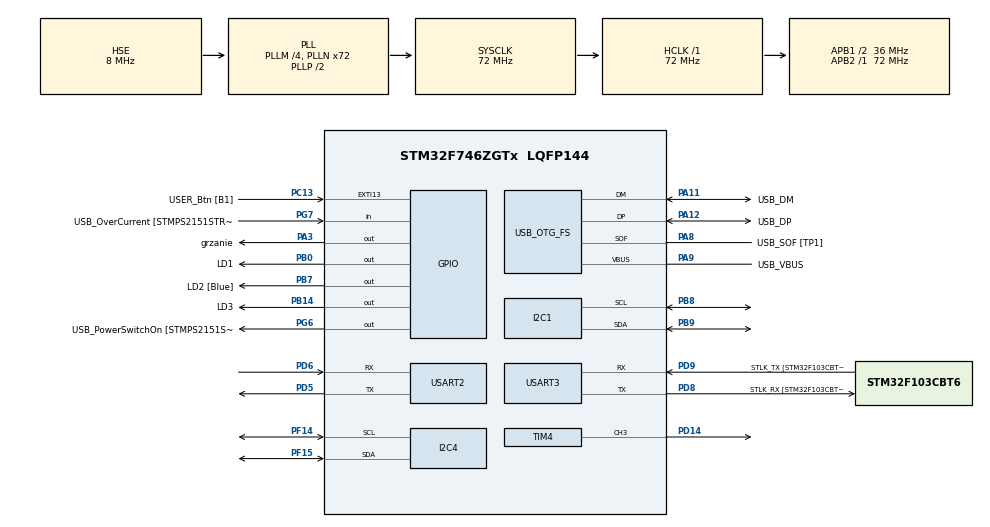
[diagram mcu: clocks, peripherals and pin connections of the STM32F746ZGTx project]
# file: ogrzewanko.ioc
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I2C1.Timing=0x00808CD2
I2C4.Timing=0x00808CD2
Mcu.Family=STM32F7
Mcu.Name=STM32F746ZGTx
Mcu.Package=LQFP144
NVIC.PriorityGroup=NVIC_PRIORITYGROUP_4
PA1.GPIO_Label=RMII_REF_CLK [LAN8742A-CZ-TR_REFCLK0]
PA1.Signal=ETH_REF_CLK
PA10.GPIO_Label=USB_ID
PA10.Signal=USB_OTG_FS_ID
PA11.GPIO_Label=USB_DM
PA11.Mode=Device_Only
PA11.Signal=USB_OTG_FS_DM
PA12.GPIO_Label=USB_DP
PA12.Mode=Device_Only
PA12.Signal=USB_OTG_FS_DP
PA13.GPIO_Label=TMS
PA13.Mode=Serial_Wire
PA13.Signal=SYS_JTMS-SWDIO
PA14.GPIO_Label=TCK
PA14.Mode=Serial_Wire
PA14.Signal=SYS_JTCK-SWCLK
PA2.GPIO_Label=RMII_MDIO [LAN8742A-CZ-TR_MDIO]
PA2.Signal=ETH_MDIO
PA3.GPIO_Label=grzanie
PA3.Signal=GPIO_Output
PA7.GPIO_Label=RMII_CRS_DV [LAN8742A-CZ-TR_CRS_DV]
PA7.Signal=ETH_CRS_DV
PA8.GPIO_Label=USB_SOF [TP1]
PA8.Mode=Activate_SOF_FS
PA8.Signal=USB_OTG_FS_SOF
PA9.GPIO_Label=USB_VBUS
PA9.Mode=Activate_VBUS
PA9.Signal=USB_OTG_FS_VBUS
PB0.GPIO_Label=LD1
PB0.Signal=GPIO_Output
PB13.GPIO_Label=RMII_TXD1 [LAN8742A-CZ-TR_TXD1]
PB13.Signal=ETH_TXD1
PB14.GPIO_Label=LD3
PB14.Signal=GPIO_Output
PB3.GPIO_Label=SW0
PB3.Signal=SYS_JTDO-SWO
PB7.GPIO_Label=LD2 [Blue]
PB7.Signal=GPIO_Output
PB8.Mode=I2C
PB8.Signal=I2C1_SCL
PB9.Mode=I2C
PB9.Signal=I2C1_SDA
PC1.GPIO_Label=RMII_MDC [LAN8742A-CZ-TR_MDC]
PC1.Signal=ETH_MDC
PC13.GPIO_Label=USER_Btn [B1]
PC13.Signal=GPXTI13
PC14/OSC32_IN.Mode=LSE-External-Oscillator
PC14/OSC32_IN.Signal=RCC_OSC32_IN
PC15/OSC32_OUT.Mode=LSE-External-Oscillator
PC15/OSC32_OUT.Signal=RCC_OSC32_OUT
PC4.GPIO_Label=RMII_RXD0 [LAN8742A-CZ-TR_RXD0]
PC4.Signal=ETH_RXD0
PC5.GPIO_Label=RMII_RXD1 [LAN8742A-CZ-TR_RXD1]
PC5.Signal=ETH_RXD1
PD14.Signal=S_TIM4_CH3
PD5.Mode=Asynchronous
PD5.Signal=USART2_TX
PD6.Mode=Asynchronous
PD6.Signal=USART2_RX
PD8.GPIO_Label=STLK_RX [STM32F103CBT6_PA3]
PD8.Mode=Asynchronous
PD8.Signal=USART3_TX
PD9.GPIO_Label=STLK_TX [STM32F103CBT6_PA2]
PD9.Mode=Asynchronous
PD9.Signal=USART3_RX
PF14.Mode=I2C
PF14.Signal=I2C4_SCL
PF15.Mode=I2C
PF15.Signal=I2C4_SDA
PG11.GPIO_Label=RMII_TX_EN [LAN8742A-CZ-TR_TXEN]
PG11.Signal=ETH_TX_EN
PG13.GPIO_Label=RMII_TXD0 [LAN8742A-CZ-TR_TXD0]
PG13.Signal=ETH_TXD0
PG6.GPIO_Label=USB_PowerSwitchOn [STMPS2151STR_EN]
PG6.Signal=GPIO_Output
PG7.GPIO_Label=USB_OverCurrent [STMPS2151STR_FAULT]
PG7.Signal=GPIO_Input
PH0/OSC_IN.GPIO_Label=MCO [STM32F103CBT6_PA8]
PH0/OSC_IN.Mode=HSE-External-Clock-Source
PH0/OSC_IN.Signal=RCC_OSC_IN
PH1/OSC_OUT.Mode=HSE-External-Clock-Source
PH1/OSC_OUT.Signal=RCC_OSC_OUT
ProjectManager.HeapSize=0x200
ProjectManager.StackSize=0x400
ProjectManager.TargetToolchain=STM32CubeIDE
RCC.48MHZClocksFreq_Value=24000000
RCC.AHBFreq_Value=72000000
RCC.APB1CLKDivider=RCC_HCLK_DIV2
RCC.APB1Freq_Value=36000000
RCC.APB1TimFreq_Value=72000000
RCC.APB2Freq_Value=72000000
RCC.APB2TimFreq_Value=72000000
RCC.CortexFreq_Value=72000000
RCC.HCLKFreq_Value=72000000
RCC.HSE_VALUE=8000000
RCC.HSI_VALUE=16000000
RCC.PLLM=4
RCC.PLLMUL=RCC_PLL_MUL9
RCC.PLLN=72
RCC.PLLQ=3
RCC.PRESCALERUSB=RCC_USBCLKSOURCE_PLL_DIV1_5
RCC.SYSCLKFreq_VALUE=72000000
RCC.SYSCLKSource=RCC_SYSCLKSOURCE_PLLCLK
RCC.SYSCLKSourceVirtual=RCC_SYSCLKSOURCE_PLLCLK
RCC.USBFreq_Value=48000000
RCC.VCOOutputFreq_Value=144000000
SH.S_TIM4_CH3.0=TIM4_CH3,PWM Generation3 CH3
TIM4.AutoReloadPreload=TIM_AUTORELOAD_PRELOAD_ENABLE
TIM4.Channel-PWM\ Generation3\ CH3=TIM_CHANNEL_3
TIM4.Period=999
TIM4.Prescaler=71
USART2.VirtualMode-Asynchronous=VM_ASYNC
USART3.VirtualMode-Asynchronous=VM_ASYNC
USB_OTG_FS.VirtualMode=Device_Only
VP_TIM4_VS_ClockSourceINT.Mode=Internal
board=NUCLEO-F746ZG

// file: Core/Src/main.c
/* USER CODE BEGIN Header */
/**
  ******************************************************************************
  * @file           : main.c
  * @brief          : Main program body
  ******************************************************************************
  * @attention
  *
  * <h2><center>&copy; Copyright (c) 2022 STMicroelectronics.
  * All rights reserved.</center></h2>
  *
  * This software component is licensed by ST under BSD 3-Clause license,
  * the "License"; You may not use this file except in compliance with the
  * License. You may obtain a copy of the License at:
  *                        opensource.org/licenses/BSD-3-Clause
  *
  ******************************************************************************
  */
/* USER CODE END Header */
#include "main.h"

/* USER CODE BEGIN Includes */
#include "BMPXX80.h"
#include "stm32f7xx_hal.h"
#include "u8g_arm.h"
/* USER CODE END Includes */

/* USER CODE BEGIN PTD */
#define MAX_LENGTH 30
 char text[MAX_LENGTH];

typedef float float32_t;

typedef struct{
	float32_t Kp;
	float32_t Ki;
	float32_t Kd;
	float32_t dt;
}pid_parameters_t;

typedef struct{
	pid_parameters_t p;
	float32_t previous_error, previous_integral;
}pid_t;

/* USER CODE END PTD */

I2C_HandleTypeDef hi2c1;
I2C_HandleTypeDef hi2c4;

TIM_HandleTypeDef htim4;

UART_HandleTypeDef huart2;
UART_HandleTypeDef huart3;

PCD_HandleTypeDef hpcd_USB_OTG_FS;

/* USER CODE BEGIN PV */
float temperature; float temp_zadana =27;
int32_t pressure;
static u8g_t u8g;
char tekst_wysw[50];
char tekst_wysw2[50];
char temp[10];
uint8_t key[1];

//parametry pwm
uint16_t pwm_duty=0;
float32_t counter_period = 999;
float32_t pid_output = 0;
/* USER CODE END PV */

void SystemClock_Config(void);
static void MX_GPIO_Init(void);
static void MX_USART3_UART_Init(void);
static void MX_USB_OTG_FS_PCD_Init(void);
static void MX_I2C1_Init(void);
static void MX_I2C4_Init(void);
static void MX_TIM4_Init(void);
static void MX_USART2_UART_Init(void);

/* USER CODE BEGIN 0 */
void draw(void)
{
	u8g_SetFont(&u8g,u8g_font_profont10);//set current font
	u8g_DrawStr(&u8g, 2, 12, tekst_wysw);
	u8g_DrawStr(&u8g, 2, 32, tekst_wysw2);//write string - you set coordinates and string
	//u8g_DrawBox(&u8g, 30, 30, 35, 35);//draw some box
}
/**
* Calculation of discrete PID
* @param[in,out] s A pointer to PID parameters and history
* @param[in] setpoint Input setpoint value
* @param[in] measured Input measured value
* @return PID output value
*/
float32_t calculate_discrete_pid(pid_t* pid, float32_t setpoint, float32_t measured){
	float32_t u=0, P, I, D, error, integral, derivative;

	error = setpoint-measured;

	//proportional part
	P = pid->p.Kp * error;

	//integral part
	integral = pid->previous_integral + (error+pid->previous_error) ; //numerical integrator without anti-windup
	pid->previous_integral = integral;
	I = pid->p.Ki*integral*(pid->p.dt/2.0);

	//derivative part
	derivative = (error - pid->previous_error)/pid->p.dt; //numerical derivative without filter
	pid->previous_error = error;
	D = pid->p.Kd*derivative;

	//sum of all parts
	u = P  + I + D; //without saturation

	return u;
}

/* USER CODE END 0 */

int main(void)
{

  /* MCU Configuration--------------------------------------------------------*/

  /* Reset of all peripherals, Initializes the Flash interface and the Systick. */
  HAL_Init();

  /* Configure the system clock */
  SystemClock_Config();

  /* Initialize all configured peripherals */
  MX_GPIO_Init();
  MX_USART3_UART_Init();
  MX_USB_OTG_FS_PCD_Init();
  MX_I2C1_Init();
  MX_I2C4_Init();
  MX_TIM4_Init();
  MX_USART2_UART_Init();
  /* USER CODE BEGIN 2 */
  HAL_TIM_PWM_Start(&htim4, TIM_CHANNEL_3);
  u8g_InitComFn(&u8g, &u8g_dev_ssd1306_128x64_i2c, u8g_com_hw_i2c_fn); //here we init our u8glib driver
  BMP280_Init(&hi2c1, BMP280_TEMPERATURE_16BIT, BMP280_STANDARD, BMP280_FORCEDMODE);

  pid_t pid1 = { .p.Kp=5.0, .p.Ki=0.005, .p.Kd=0.05, .p.dt=1, .previous_error=0, .previous_integral=0}; //tworzymy pid

  /* USER CODE END 2 */

  /* Infinite loop */
  while (1)
  {

    /* USER CODE BEGIN 3 */

	  // wpisanie temperatury
	  /* USER CODE BEGIN 3 */

//	  HAL_StatusTypeDef status = HAL_UART_Transmit(&huart2, key, 1, 1);
//	  if (status == HAL_OK)
//	  switch (key[0]) {
//	  case 'a': temp_zadana+=1; break;
//	  case 'b': temp_zadana-=1; break;
//	  case 'c': temp_zadana=27; break;
//	  }
	  // odczyt temperatury
	  BMP280_ReadTemperatureAndPressure(&temperature, &pressure);
	  sprintf((char*)text, "%.2f, ", temperature);
	  HAL_UART_Transmit(&huart3, (uint8_t*)text, strlen(text), 1000);
	  printf("%.2f ", temperature, "\n");

	  //regulacja pid
	  pid_output = counter_period*calculate_discrete_pid(&pid1, temp_zadana, temperature);
	  if(pid_output<0) pid_output = 0;
	  else if(pid_output>counter_period) pid_output = counter_period;
	  pwm_duty  = (uint16_t)pid_output;
	  __HAL_TIM_SET_COMPARE(&htim4,TIM_CHANNEL_3,pwm_duty);
	  HAL_Delay(100);

	//generowanie tekstu do wyswietlenia
	  strcpy (tekst_wysw,"Temperatura zadana: ");
	  sprintf((char*)temp, "%.2f, ", temp_zadana);
	  strcat (tekst_wysw,temp);
	  puts (tekst_wysw);

	  strcpy (tekst_wysw2,"Temperatura obecna: ");
	  sprintf((char*)temp, "%.2f, ", temperature);
	  strcat (tekst_wysw2,temp);
	  puts (tekst_wysw2);

	u8g_FirstPage(&u8g);
 	do
 	{
 		draw();
 		} while ( u8g_NextPage(&u8g) );
 		u8g_Delay(10);
   }
 }

  /* USER CODE END 3 */

void SystemClock_Config(void)
{
  RCC_OscInitTypeDef RCC_OscInitStruct = {0};
  RCC_ClkInitTypeDef RCC_ClkInitStruct = {0};

  /** Configure LSE Drive Capability
  */
  HAL_PWR_EnableBkUpAccess();
  /** Configure the main internal regulator output voltage
  */
  __HAL_RCC_PWR_CLK_ENABLE();
  __HAL_PWR_VOLTAGESCALING_CONFIG(PWR_REGULATOR_VOLTAGE_SCALE3);
  /** Initializes the RCC Oscillators according to the specified parameters
  * in the RCC_OscInitTypeDef structure.
  */
  RCC_OscInitStruct.OscillatorType = RCC_OSCILLATORTYPE_HSE;
  RCC_OscInitStruct.HSEState = RCC_HSE_BYPASS;
  RCC_OscInitStruct.PLL.PLLState = RCC_PLL_ON;
  RCC_OscInitStruct.PLL.PLLSource = RCC_PLLSOURCE_HSE;
  RCC_OscInitStruct.PLL.PLLM = 4;
  RCC_OscInitStruct.PLL.PLLN = 72;
  RCC_OscInitStruct.PLL.PLLP = RCC_PLLP_DIV2;
  RCC_OscInitStruct.PLL.PLLQ = 3;
  if (HAL_RCC_OscConfig(&RCC_OscInitStruct) != HAL_OK)
  {
    Error_Handler();
  }
  /** Initializes the CPU, AHB and APB buses clocks
  */
  RCC_ClkInitStruct.ClockType = RCC_CLOCKTYPE_HCLK|RCC_CLOCKTYPE_SYSCLK
                              |RCC_CLOCKTYPE_PCLK1|RCC_CLOCKTYPE_PCLK2;
  RCC_ClkInitStruct.SYSCLKSource = RCC_SYSCLKSOURCE_PLLCLK;
  RCC_ClkInitStruct.AHBCLKDivider = RCC_SYSCLK_DIV1;
  RCC_ClkInitStruct.APB1CLKDivider = RCC_HCLK_DIV2;
  RCC_ClkInitStruct.APB2CLKDivider = RCC_HCLK_DIV1;

  if (HAL_RCC_ClockConfig(&RCC_ClkInitStruct, FLASH_LATENCY_2) != HAL_OK)
  {
    Error_Handler();
  }
}

static void MX_I2C1_Init(void)
{

  hi2c1.Instance = I2C1;
  hi2c1.Init.Timing = 0x00808CD2;
  hi2c1.Init.OwnAddress1 = 0;
  hi2c1.Init.AddressingMode = I2C_ADDRESSINGMODE_7BIT;
  hi2c1.Init.DualAddressMode = I2C_DUALADDRESS_DISABLE;
  hi2c1.Init.OwnAddress2 = 0;
  hi2c1.Init.OwnAddress2Masks = I2C_OA2_NOMASK;
  hi2c1.Init.GeneralCallMode = I2C_GENERALCALL_DISABLE;
  hi2c1.Init.NoStretchMode = I2C_NOSTRETCH_DISABLE;
  if (HAL_I2C_Init(&hi2c1) != HAL_OK)
  {
    Error_Handler();
  }
  /** Configure Analogue filter
  */
  if (HAL_I2CEx_ConfigAnalogFilter(&hi2c1, I2C_ANALOGFILTER_ENABLE) != HAL_OK)
  {
    Error_Handler();
  }
  /** Configure Digital filter
  */
  if (HAL_I2CEx_ConfigDigitalFilter(&hi2c1, 0) != HAL_OK)
  {
    Error_Handler();
  }

}

static void MX_I2C4_Init(void)
{

  hi2c4.Instance = I2C4;
  hi2c4.Init.Timing = 0x00808CD2;
  hi2c4.Init.OwnAddress1 = 0;
  hi2c4.Init.AddressingMode = I2C_ADDRESSINGMODE_7BIT;
  hi2c4.Init.DualAddressMode = I2C_DUALADDRESS_DISABLE;
  hi2c4.Init.OwnAddress2 = 0;
  hi2c4.Init.OwnAddress2Masks = I2C_OA2_NOMASK;
  hi2c4.Init.GeneralCallMode = I2C_GENERALCALL_DISABLE;
  hi2c4.Init.NoStretchMode = I2C_NOSTRETCH_DISABLE;
  if (HAL_I2C_Init(&hi2c4) != HAL_OK)
  {
    Error_Handler();
  }
  /** Configure Analogue filter
  */
  if (HAL_I2CEx_ConfigAnalogFilter(&hi2c4, I2C_ANALOGFILTER_ENABLE) != HAL_OK)
  {
    Error_Handler();
  }
  /** Configure Digital filter
  */
  if (HAL_I2CEx_ConfigDigitalFilter(&hi2c4, 0) != HAL_OK)
  {
    Error_Handler();
  }

}

static void MX_TIM4_Init(void)
{

  TIM_ClockConfigTypeDef sClockSourceConfig = {0};
  TIM_MasterConfigTypeDef sMasterConfig = {0};
  TIM_OC_InitTypeDef sConfigOC = {0};

  htim4.Instance = TIM4;
  htim4.Init.Prescaler = 71;
  htim4.Init.CounterMode = TIM_COUNTERMODE_UP;
  htim4.Init.Period = 999;
  htim4.Init.ClockDivision = TIM_CLOCKDIVISION_DIV1;
  htim4.Init.AutoReloadPreload = TIM_AUTORELOAD_PRELOAD_ENABLE;
  if (HAL_TIM_Base_Init(&htim4) != HAL_OK)
  {
    Error_Handler();
  }
  sClockSourceConfig.ClockSource = TIM_CLOCKSOURCE_INTERNAL;
  if (HAL_TIM_ConfigClockSource(&htim4, &sClockSourceConfig) != HAL_OK)
  {
    Error_Handler();
  }
  if (HAL_TIM_PWM_Init(&htim4) != HAL_OK)
  {
    Error_Handler();
  }
  sMasterConfig.MasterOutputTrigger = TIM_TRGO_RESET;
  sMasterConfig.MasterSlaveMode = TIM_MASTERSLAVEMODE_DISABLE;
  if (HAL_TIMEx_MasterConfigSynchronization(&htim4, &sMasterConfig) != HAL_OK)
  {
    Error_Handler();
  }
  sConfigOC.OCMode = TIM_OCMODE_PWM1;
  sConfigOC.Pulse = 0;
  sConfigOC.OCPolarity = TIM_OCPOLARITY_HIGH;
  sConfigOC.OCFastMode = TIM_OCFAST_DISABLE;
  if (HAL_TIM_PWM_ConfigChannel(&htim4, &sConfigOC, TIM_CHANNEL_3) != HAL_OK)
  {
    Error_Handler();
  }
  HAL_TIM_MspPostInit(&htim4);

}

static void MX_USART2_UART_Init(void)
{

  huart2.Instance = USART2;
  huart2.Init.BaudRate = 115200;
  huart2.Init.WordLength = UART_WORDLENGTH_8B;
  huart2.Init.StopBits = UART_STOPBITS_1;
  huart2.Init.Parity = UART_PARITY_NONE;
  huart2.Init.Mode = UART_MODE_TX_RX;
  huart2.Init.HwFlowCtl = UART_HWCONTROL_NONE;
  huart2.Init.OverSampling = UART_OVERSAMPLING_16;
  huart2.Init.OneBitSampling = UART_ONE_BIT_SAMPLE_DISABLE;
  huart2.AdvancedInit.AdvFeatureInit = UART_ADVFEATURE_NO_INIT;
  if (HAL_UART_Init(&huart2) != HAL_OK)
  {
    Error_Handler();
  }

}

static void MX_USART3_UART_Init(void)
{

  huart3.Instance = USART3;
  huart3.Init.BaudRate = 115200;
  huart3.Init.WordLength = UART_WORDLENGTH_8B;
  huart3.Init.StopBits = UART_STOPBITS_1;
  huart3.Init.Parity = UART_PARITY_NONE;
  huart3.Init.Mode = UART_MODE_TX_RX;
  huart3.Init.HwFlowCtl = UART_HWCONTROL_NONE;
  huart3.Init.OverSampling = UART_OVERSAMPLING_16;
  huart3.Init.OneBitSampling = UART_ONE_BIT_SAMPLE_DISABLE;
  huart3.AdvancedInit.AdvFeatureInit = UART_ADVFEATURE_NO_INIT;
  if (HAL_UART_Init(&huart3) != HAL_OK)
  {
    Error_Handler();
  }

}

static void MX_USB_OTG_FS_PCD_Init(void)
{

  hpcd_USB_OTG_FS.Instance = USB_OTG_FS;
  hpcd_USB_OTG_FS.Init.dev_endpoints = 6;
  hpcd_USB_OTG_FS.Init.speed = PCD_SPEED_FULL;
  hpcd_USB_OTG_FS.Init.dma_enable = DISABLE;
  hpcd_USB_OTG_FS.Init.phy_itface = PCD_PHY_EMBEDDED;
  hpcd_USB_OTG_FS.Init.Sof_enable = ENABLE;
  hpcd_USB_OTG_FS.Init.low_power_enable = DISABLE;
  hpcd_USB_OTG_FS.Init.lpm_enable = DISABLE;
  hpcd_USB_OTG_FS.Init.vbus_sensing_enable = ENABLE;
  hpcd_USB_OTG_FS.Init.use_dedicated_ep1 = DISABLE;
  if (HAL_PCD_Init(&hpcd_USB_OTG_FS) != HAL_OK)
  {
    Error_Handler();
  }

}

static void MX_GPIO_Init(void)
{
  GPIO_InitTypeDef GPIO_InitStruct = {0};

  /* GPIO Ports Clock Enable */
  __HAL_RCC_GPIOC_CLK_ENABLE();
  __HAL_RCC_GPIOH_CLK_ENABLE();
  __HAL_RCC_GPIOA_CLK_ENABLE();
  __HAL_RCC_GPIOB_CLK_ENABLE();
  __HAL_RCC_GPIOF_CLK_ENABLE();
  __HAL_RCC_GPIOD_CLK_ENABLE();
  __HAL_RCC_GPIOG_CLK_ENABLE();

  /*Configure GPIO pin Output Level */
  HAL_GPIO_WritePin(grzanie_GPIO_Port, grzanie_Pin, GPIO_PIN_RESET);

  /*Configure GPIO pin Output Level */
  HAL_GPIO_WritePin(GPIOB, LD1_Pin|LD3_Pin|LD2_Pin, GPIO_PIN_RESET);

  /*Configure GPIO pin Output Level */
  HAL_GPIO_WritePin(USB_PowerSwitchOn_GPIO_Port, USB_PowerSwitchOn_Pin, GPIO_PIN_RESET);

  /*Configure GPIO pin : USER_Btn_Pin */
  GPIO_InitStruct.Pin = USER_Btn_Pin;
  GPIO_InitStruct.Mode = GPIO_MODE_IT_RISING;
  GPIO_InitStruct.Pull = GPIO_NOPULL;
  HAL_GPIO_Init(USER_Btn_GPIO_Port, &GPIO_InitStruct);

  /*Configure GPIO pins : RMII_MDC_Pin RMII_RXD0_Pin RMII_RXD1_Pin */
  GPIO_InitStruct.Pin = RMII_MDC_Pin|RMII_RXD0_Pin|RMII_RXD1_Pin;
  GPIO_InitStruct.Mode = GPIO_MODE_AF_PP;
  GPIO_InitStruct.Pull = GPIO_NOPULL;
  GPIO_InitStruct.Speed = GPIO_SPEED_FREQ_VERY_HIGH;
  GPIO_InitStruct.Alternate = GPIO_AF11_ETH;
  HAL_GPIO_Init(GPIOC, &GPIO_InitStruct);

  /*Configure GPIO pins : RMII_REF_CLK_Pin RMII_MDIO_Pin RMII_CRS_DV_Pin */
  GPIO_InitStruct.Pin = RMII_REF_CLK_Pin|RMII_MDIO_Pin|RMII_CRS_DV_Pin;
  GPIO_InitStruct.Mode = GPIO_MODE_AF_PP;
  GPIO_InitStruct.Pull = GPIO_NOPULL;
  GPIO_InitStruct.Speed = GPIO_SPEED_FREQ_VERY_HIGH;
  GPIO_InitStruct.Alternate = GPIO_AF11_ETH;
  HAL_GPIO_Init(GPIOA, &GPIO_InitStruct);

  /*Configure GPIO pin : grzanie_Pin */
  GPIO_InitStruct.Pin = grzanie_Pin;
  GPIO_InitStruct.Mode = GPIO_MODE_OUTPUT_PP;
  GPIO_InitStruct.Pull = GPIO_NOPULL;
  GPIO_InitStruct.Speed = GPIO_SPEED_FREQ_LOW;
  HAL_GPIO_Init(grzanie_GPIO_Port, &GPIO_InitStruct);

  /*Configure GPIO pins : LD1_Pin LD3_Pin LD2_Pin */
  GPIO_InitStruct.Pin = LD1_Pin|LD3_Pin|LD2_Pin;
  GPIO_InitStruct.Mode = GPIO_MODE_OUTPUT_PP;
  GPIO_InitStruct.Pull = GPIO_NOPULL;
  GPIO_InitStruct.Speed = GPIO_SPEED_FREQ_LOW;
  HAL_GPIO_Init(GPIOB, &GPIO_InitStruct);

  /*Configure GPIO pin : RMII_TXD1_Pin */
  GPIO_InitStruct.Pin = RMII_TXD1_Pin;
  GPIO_InitStruct.Mode = GPIO_MODE_AF_PP;
  GPIO_InitStruct.Pull = GPIO_NOPULL;
  GPIO_InitStruct.Speed = GPIO_SPEED_FREQ_VERY_HIGH;
  GPIO_InitStruct.Alternate = GPIO_AF11_ETH;
  HAL_GPIO_Init(RMII_TXD1_GPIO_Port, &GPIO_InitStruct);

  /*Configure GPIO pin : USB_PowerSwitchOn_Pin */
  GPIO_InitStruct.Pin = USB_PowerSwitchOn_Pin;
  GPIO_InitStruct.Mode = GPIO_MODE_OUTPUT_PP;
  GPIO_InitStruct.Pull = GPIO_NOPULL;
  GPIO_InitStruct.Speed = GPIO_SPEED_FREQ_LOW;
  HAL_GPIO_Init(USB_PowerSwitchOn_GPIO_Port, &GPIO_InitStruct);

  /*Configure GPIO pin : USB_OverCurrent_Pin */
  GPIO_InitStruct.Pin = USB_OverCurrent_Pin;
  GPIO_InitStruct.Mode = GPIO_MODE_INPUT;
  GPIO_InitStruct.Pull = GPIO_NOPULL;
  HAL_GPIO_Init(USB_OverCurrent_GPIO_Port, &GPIO_InitStruct);

  /*Configure GPIO pins : RMII_TX_EN_Pin RMII_TXD0_Pin */
  GPIO_InitStruct.Pin = RMII_TX_EN_Pin|RMII_TXD0_Pin;
  GPIO_InitStruct.Mode = GPIO_MODE_AF_PP;
  GPIO_InitStruct.Pull = GPIO_NOPULL;
  GPIO_InitStruct.Speed = GPIO_SPEED_FREQ_VERY_HIGH;
  GPIO_InitStruct.Alternate = GPIO_AF11_ETH;
  HAL_GPIO_Init(GPIOG, &GPIO_InitStruct);

}

void Error_Handler(void)
{
  __disable_irq();
  while (1)
  {
  }
}
